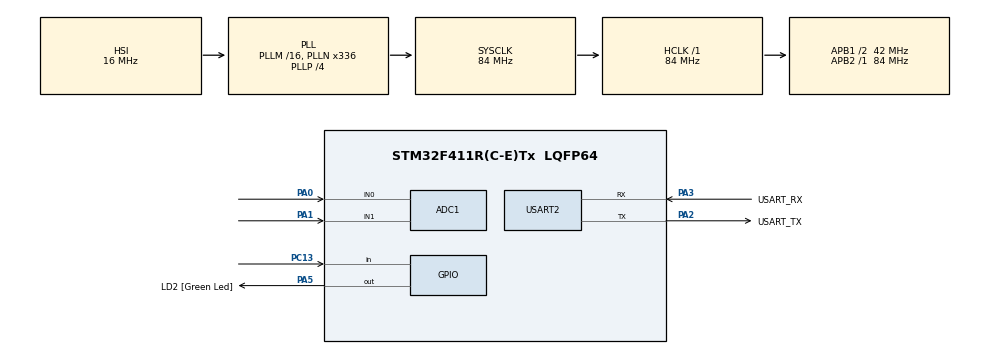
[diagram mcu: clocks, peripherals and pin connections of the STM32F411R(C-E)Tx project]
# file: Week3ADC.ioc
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ADC1.Channel-0\#ChannelRegularConversion=ADC_CHANNEL_0
ADC1.NbrOfConversionFlag=1
ADC1.Rank-0\#ChannelRegularConversion=1
ADC1.SamplingTime-0\#ChannelRegularConversion=ADC_SAMPLETIME_3CYCLES
ADC1.master=1
Mcu.Family=STM32F4
Mcu.Name=STM32F411R(C-E)Tx
Mcu.Package=LQFP64
NVIC.PriorityGroup=NVIC_PRIORITYGROUP_0
PA0-WKUP.Signal=ADCx_IN0
PA1.Signal=ADCx_IN1
PA13.GPIO_Label=TMS
PA13.Mode=Serial_Wire
PA13.Signal=SYS_JTMS-SWDIO
PA14.GPIO_Label=TCK
PA14.Mode=Serial_Wire
PA14.Signal=SYS_JTCK-SWCLK
PA2.GPIO_Label=USART_TX
PA2.Mode=Asynchronous
PA2.Signal=USART2_TX
PA3.GPIO_Label=USART_RX
PA3.Mode=Asynchronous
PA3.Signal=USART2_RX
PA5.GPIO_Label=LD2 [Green Led]
PA5.Signal=GPIO_Output
PB3.GPIO_Label=SWO
PB3.Signal=SYS_JTDO-SWO
PC13-ANTI_TAMP.Signal=GPIO_Input
PC14-OSC32_IN.Mode=LSE-External-Oscillator
PC14-OSC32_IN.Signal=RCC_OSC32_IN
PC15-OSC32_OUT.Mode=LSE-External-Oscillator
PC15-OSC32_OUT.Signal=RCC_OSC32_OUT
PH0\ -\ OSC_IN.Mode=HSE-External-Clock-Source
PH0\ -\ OSC_IN.Signal=RCC_OSC_IN
PH1\ -\ OSC_OUT.Mode=HSE-External-Clock-Source
PH1\ -\ OSC_OUT.Signal=RCC_OSC_OUT
ProjectManager.HeapSize=0x200
ProjectManager.StackSize=0x400
ProjectManager.TargetToolchain=STM32CubeIDE
RCC.48MHZClocksFreq_Value=84000000
RCC.AHBFreq_Value=84000000
RCC.APB1CLKDivider=RCC_HCLK_DIV2
RCC.APB1Freq_Value=42000000
RCC.APB1TimFreq_Value=84000000
RCC.APB2Freq_Value=84000000
RCC.APB2TimFreq_Value=84000000
RCC.CortexFreq_Value=84000000
RCC.FLatency-AdvancedSettings=FLASH_LATENCY_2
RCC.HCLKFreq_Value=84000000
RCC.HSE_VALUE=8000000
RCC.HSI_VALUE=16000000
RCC.PLLN=336
RCC.PLLP=RCC_PLLP_DIV4
RCC.SYSCLKFreq_VALUE=84000000
RCC.SYSCLKSource=RCC_SYSCLKSOURCE_PLLCLK
RCC.VCOOutputFreq_Value=336000000
SH.ADCx_IN0.0=ADC1_IN0,IN0
SH.ADCx_IN1.0=ADC1_IN1,IN1
USART2.VirtualMode=VM_ASYNC
VP_ADC1_TempSens_Input.Mode=IN-TempSens
board=NUCLEO-F411RE

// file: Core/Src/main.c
/* USER CODE BEGIN Header */
/**
 ******************************************************************************
 * @file           : main.c
 * @brief          : Main program body
 ******************************************************************************
 * @attention
 *
 * <h2><center>&copy; Copyright (c) 2021 STMicroelectronics.
 * All rights reserved.</center></h2>
 *
 * This software component is licensed by ST under BSD 3-Clause license,
 * the "License"; You may not use this file except in compliance with the
 * License. You may obtain a copy of the License at:
 *                        opensource.org/licenses/BSD-3-Clause
 *
 ******************************************************************************
 */
/* USER CODE END Header */
#include "main.h"

ADC_HandleTypeDef hadc1;

UART_HandleTypeDef huart2;

/* USER CODE BEGIN PV */
uint16_t adcdata[2] = { 0 };

typedef struct {
	ADC_ChannelConfTypeDef Config;
	uint16_t data;
} ADCStructure;

ADCStructure ADCChannel[3] = { 0 };
int ADCMode = 0;
float ADCOutputConverted = 0;
GPIO_PinState SwitchState1[2];

/* USER CODE END PV */

void SystemClock_Config(void);
static void MX_GPIO_Init(void);
static void MX_USART2_UART_Init(void);
static void MX_ADC1_Init(void);
/* USER CODE BEGIN PFP */
void ADCPollingMethodInit();
void ADCPollingMethodUpdate();
/* USER CODE END PFP */

int main(void) {

	/* MCU Configuration--------------------------------------------------------*/

	/* Reset of all peripherals, Initializes the Flash interface and the Systick. */
	HAL_Init();

	/* Configure the system clock */
	SystemClock_Config();

	/* Initialize all configured peripherals */
	MX_GPIO_Init();
	MX_USART2_UART_Init();
	MX_ADC1_Init();
	/* USER CODE BEGIN 2 */
	ADCPollingMethodInit();

	/* USER CODE END 2 */

	/* Infinite loop */
	/* USER CODE BEGIN WHILE */
	while (1) {
		SwitchState1[0] = HAL_GPIO_ReadPin(GPIOC, GPIO_PIN_13);
				/* USER CODE END WHILE */

				/* USER CODE BEGIN 3 */
				ADCPollingMethodUpdate();
				if (SwitchState1[1] == GPIO_PIN_SET
						&& SwitchState1[0] == GPIO_PIN_RESET) {
					if (ADCMode == 0) {
						ADCMode = 1;
					} else {
						ADCMode = 0;
					}
				}
				SwitchState1[1] = SwitchState1[0];
				if (ADCMode == 0) {
					ADCOutputConverted = (ADCChannel[0].data) * 3300.0 / 4096.0;
				}
				if (ADCMode == 1) {
					ADCOutputConverted = (((ADCChannel[2].data * (3.3 / 4096.0)) - 0.76)/ 0.0025) + 25.0;
				}
	}
	/* USER CODE END 3 */
}

void SystemClock_Config(void) {
	RCC_OscInitTypeDef RCC_OscInitStruct = { 0 };
	RCC_ClkInitTypeDef RCC_ClkInitStruct = { 0 };

	/** Configure the main internal regulator output voltage
	 */
	__HAL_RCC_PWR_CLK_ENABLE();
	__HAL_PWR_VOLTAGESCALING_CONFIG(PWR_REGULATOR_VOLTAGE_SCALE1);
	/** Initializes the RCC Oscillators according to the specified parameters
	 * in the RCC_OscInitTypeDef structure.
	 */
	RCC_OscInitStruct.OscillatorType = RCC_OSCILLATORTYPE_HSI;
	RCC_OscInitStruct.HSIState = RCC_HSI_ON;
	RCC_OscInitStruct.HSICalibrationValue = RCC_HSICALIBRATION_DEFAULT;
	RCC_OscInitStruct.PLL.PLLState = RCC_PLL_ON;
	RCC_OscInitStruct.PLL.PLLSource = RCC_PLLSOURCE_HSI;
	RCC_OscInitStruct.PLL.PLLM = 16;
	RCC_OscInitStruct.PLL.PLLN = 336;
	RCC_OscInitStruct.PLL.PLLP = RCC_PLLP_DIV4;
	RCC_OscInitStruct.PLL.PLLQ = 4;
	if (HAL_RCC_OscConfig(&RCC_OscInitStruct) != HAL_OK) {
		Error_Handler();
	} /** Initializes the CPU, AHB and APB buses clocks
	 */
	RCC_ClkInitStruct.ClockType = RCC_CLOCKTYPE_HCLK | RCC_CLOCKTYPE_SYSCLK
			| RCC_CLOCKTYPE_PCLK1 | RCC_CLOCKTYPE_PCLK2;
	RCC_ClkInitStruct.SYSCLKSource = RCC_SYSCLKSOURCE_PLLCLK;
	RCC_ClkInitStruct.AHBCLKDivider = RCC_SYSCLK_DIV1;
	RCC_ClkInitStruct.APB1CLKDivider = RCC_HCLK_DIV2;
	RCC_ClkInitStruct.APB2CLKDivider = RCC_HCLK_DIV1;

	if (HAL_RCC_ClockConfig(&RCC_ClkInitStruct, FLASH_LATENCY_2) != HAL_OK) {
		Error_Handler();
	}
}

static void MX_ADC1_Init(void) {

	ADC_ChannelConfTypeDef sConfig = { 0 };

	/** Configure the global features of the ADC (Clock, Resolution, Data Alignment and number of conversion)
	 */
	hadc1.Instance = ADC1;
	hadc1.Init.ClockPrescaler = ADC_CLOCK_SYNC_PCLK_DIV4;
	hadc1.Init.Resolution = ADC_RESOLUTION_12B;
	hadc1.Init.ScanConvMode = DISABLE;
	hadc1.Init.ContinuousConvMode = DISABLE;
	hadc1.Init.DiscontinuousConvMode = DISABLE;
	hadc1.Init.ExternalTrigConvEdge = ADC_EXTERNALTRIGCONVEDGE_NONE;
	hadc1.Init.ExternalTrigConv = ADC_SOFTWARE_START;
	hadc1.Init.DataAlign = ADC_DATAALIGN_RIGHT;
	hadc1.Init.NbrOfConversion = 1;
	hadc1.Init.DMAContinuousRequests = DISABLE;
	hadc1.Init.EOCSelection = ADC_EOC_SINGLE_CONV;
	if (HAL_ADC_Init(&hadc1) != HAL_OK) {
		Error_Handler();
	}
	/** Configure for the selected ADC regular channel its corresponding rank in the sequencer and its sample time.
	 */
	sConfig.Channel = ADC_CHANNEL_0;
	sConfig.Rank = 1;
	sConfig.SamplingTime = ADC_SAMPLETIME_3CYCLES;
	if (HAL_ADC_ConfigChannel(&hadc1, &sConfig) != HAL_OK) {
		Error_Handler();
	}

}

static void MX_USART2_UART_Init(void) {

	huart2.Instance = USART2;
	huart2.Init.BaudRate = 115200;
	huart2.Init.WordLength = UART_WORDLENGTH_8B;
	huart2.Init.StopBits = UART_STOPBITS_1;
	huart2.Init.Parity = UART_PARITY_NONE;
	huart2.Init.Mode = UART_MODE_TX_RX;
	huart2.Init.HwFlowCtl = UART_HWCONTROL_NONE;
	huart2.Init.OverSampling = UART_OVERSAMPLING_16;
	if (HAL_UART_Init(&huart2) != HAL_OK) {
		Error_Handler();
	}

}

static void MX_GPIO_Init(void) {
	GPIO_InitTypeDef GPIO_InitStruct = { 0 };

	/* GPIO Ports Clock Enable */
	__HAL_RCC_GPIOC_CLK_ENABLE();
	__HAL_RCC_GPIOH_CLK_ENABLE();
	__HAL_RCC_GPIOA_CLK_ENABLE();
	__HAL_RCC_GPIOB_CLK_ENABLE();

	/*Configure GPIO pin Output Level */
	HAL_GPIO_WritePin(LD2_GPIO_Port, LD2_Pin, GPIO_PIN_RESET);

	/*Configure GPIO pin : PC13 */
	GPIO_InitStruct.Pin = GPIO_PIN_13;
	GPIO_InitStruct.Mode = GPIO_MODE_INPUT;
	GPIO_InitStruct.Pull = GPIO_NOPULL;
	HAL_GPIO_Init(GPIOC, &GPIO_InitStruct);

	/*Configure GPIO pin : LD2_Pin */
	GPIO_InitStruct.Pin = LD2_Pin;
	GPIO_InitStruct.Mode = GPIO_MODE_OUTPUT_PP;
	GPIO_InitStruct.Pull = GPIO_NOPULL;
	GPIO_InitStruct.Speed = GPIO_SPEED_FREQ_LOW;
	HAL_GPIO_Init(LD2_GPIO_Port, &GPIO_InitStruct);

}

/* USER CODE BEGIN 4 */
void ADCPollingMethodInit() {
	//config all ADC Channel
	ADCChannel[0].Config.Channel = ADC_CHANNEL_0;
	ADCChannel[0].Config.Rank = 1;
	ADCChannel[0].Config.SamplingTime = ADC_SAMPLETIME_3CYCLES;

	ADCChannel[1].Config.Channel = ADC_CHANNEL_1;
	ADCChannel[1].Config.Rank = 1;
	ADCChannel[1].Config.SamplingTime = ADC_SAMPLETIME_3CYCLES;

	ADCChannel[2].Config.Channel = ADC_CHANNEL_TEMPSENSOR;
	ADCChannel[2].Config.Rank = 1;
	ADCChannel[2].Config.SamplingTime = ADC_SAMPLETIME_3CYCLES;
}
//Polling Method
void ADCPollingMethodUpdate() {
	//Read all 3 Channel
	for (int i = 0; i < 3; i++) {
		HAL_ADC_ConfigChannel(&hadc1, &ADCChannel[i].Config);
		HAL_ADC_Start(&hadc1);
		if (HAL_ADC_PollForConversion(&hadc1, 10) == HAL_OK) {
			ADCChannel[i].data = HAL_ADC_GetValue(&hadc1);
		}
		HAL_ADC_Stop(&hadc1);
	}
}
/* USER CODE END 4 */

void Error_Handler(void) {
	__disable_irq();
	while (1) {
	}
}

/************************ (C) COPYRIGHT STMicroelectronics *****END OF FILE****/
